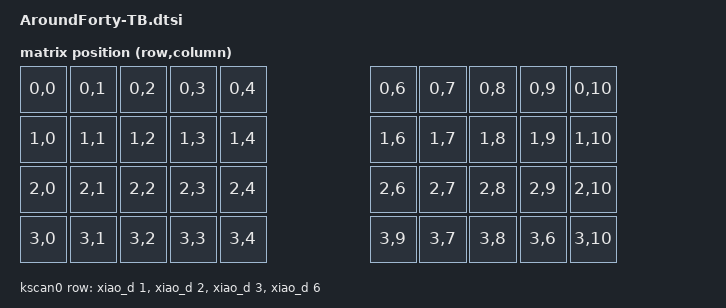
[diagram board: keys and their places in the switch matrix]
#include <dt-bindings/zmk/matrix_transform.h>
#include <physical_layouts.dtsi>
/ {
    chosen {
       zmk,physical-layout = &moga_physical_layout;
    };

moga_physical_layout: moga_physical_layout {
        compatible = "zmk,physical-layout";
        display-name = "Default";
        transform = <&default_transform>;
        kscan = <&kscan0>;

        keys  //                     w   h    x    y     rot    rx    ry
            = <&key_physical_attrs 100 100    0    0       0     0     0>
            , <&key_physical_attrs 100 100  100    0       0     0     0>
            , <&key_physical_attrs 100 100  200    0       0     0     0>
            , <&key_physical_attrs 100 100  300    0       0     0     0>
            , <&key_physical_attrs 100 100  400    0       0     0     0>
            , <&key_physical_attrs 100 100  800    0       0     0     0>
            , <&key_physical_attrs 100 100  900    0       0     0     0>
            , <&key_physical_attrs 100 100 1000    0       0     0     0>
            , <&key_physical_attrs 100 100 1100    0       0     0     0>
            , <&key_physical_attrs 100 100 1200    0       0     0     0>
            , <&key_physical_attrs 100 100    0  100       0     0     0>
            , <&key_physical_attrs 100 100  100  100       0     0     0>
            , <&key_physical_attrs 100 100  200  100       0     0     0>
            , <&key_physical_attrs 100 100  300  100       0     0     0>
            , <&key_physical_attrs 100 100  400  100       0     0     0>
            , <&key_physical_attrs 100 100  800  100       0     0     0>
            , <&key_physical_attrs 100 100  900  100       0     0     0>
            , <&key_physical_attrs 100 100 1000  100       0     0     0>
            , <&key_physical_attrs 100 100 1100  100       0     0     0>
            , <&key_physical_attrs 100 100 1200  100       0     0     0>
            , <&key_physical_attrs 100 100    0  200       0     0     0>
            , <&key_physical_attrs 100 100  100  200       0     0     0>
            , <&key_physical_attrs 100 100  200  200       0     0     0>
            , <&key_physical_attrs 100 100  300  200       0     0     0>
            , <&key_physical_attrs 100 100  400  200       0     0     0>
            , <&key_physical_attrs 100 100  500  200       0     0     0>
            , <&key_physical_attrs 100 100  800  200       0     0     0>
            , <&key_physical_attrs 100 100  900  200       0     0     0>
            , <&key_physical_attrs 100 100 1000  200       0     0     0>
            , <&key_physical_attrs 100 100 1100  200       0     0     0>
            , <&key_physical_attrs 100 100 1200  200       0     0     0>
            , <&key_physical_attrs 100 100    0  300       0     0     0>
            , <&key_physical_attrs 100 100  100  300       0     0     0>
            , <&key_physical_attrs 100 100  200  300       0     0     0>
            , <&key_physical_attrs 100 100  300  300       0     0     0>
            , <&key_physical_attrs 100 100  400  300       0     0     0>
            , <&key_physical_attrs 100 100  500  300       0     0     0>
            , <&key_physical_attrs 100 100  800  300       0     0     0>
            , <&key_physical_attrs 100 100  700  200       0     0     0>
            , <&key_physical_attrs 100 100  700  300       0     0     0>
            , <&key_physical_attrs 100 100 1100  300       0     0     0>
            , <&key_physical_attrs 100 100 1200  300       0     0     0> 
            ;
    };

    default_transform: keymap_transform_0 {
        compatible = "zmk,matrix-transform";
        columns = <11>;
        rows = <4>;               
        map = <
            RC(0,0) RC(0,1) RC(0,2) RC(0,3) RC(0,4)                        RC(0,6) RC(0,7) RC(0,8) RC(0,9) RC(0,10)
            RC(1,0) RC(1,1) RC(1,2) RC(1,3) RC(1,4)                        RC(1,6) RC(1,7) RC(1,8) RC(1,9) RC(1,10)
            RC(2,0) RC(2,1) RC(2,2) RC(2,3) RC(2,4)                        RC(2,6) RC(2,7) RC(2,8) RC(2,9) RC(2,10)
            RC(3,0) RC(3,1) RC(3,2) RC(3,3) RC(3,4)                        RC(3,9) RC(3,7) RC(3,8) RC(3,6) RC(3,10)         
        >;
    };
    
    kscan0: kscan {
        compatible = "zmk,kscan-gpio-matrix";
        label = "KSCAN";
        diode-direction = "col2row";
            row-gpios
                = <&xiao_d 1 (GPIO_ACTIVE_HIGH | GPIO_PULL_DOWN)> 
                , <&xiao_d 2 (GPIO_ACTIVE_HIGH | GPIO_PULL_DOWN)> 
                , <&xiao_d 3 (GPIO_ACTIVE_HIGH | GPIO_PULL_DOWN)> 
                , <&xiao_d 6 (GPIO_ACTIVE_HIGH | GPIO_PULL_DOWN)> 			
                ;
    };
/* --- 1) SPI0 用 pinctrl 定義 を追加 --- */
&pinctrl {
    spi0_default: spi0_default {
        group1 {
            psels = 
                <NRF_PSEL(SPIM_SCK,  0, 5)>,   /* SCLK → P0.05 */
                <NRF_PSEL(SPIM_MOSI, 0, 4)>,   /* SDIO → P0.04 */
                <NRF_PSEL(SPIM_MISO, 0, 4)>;   /* SDIO → P0.04 */
        };
    };
    spi0_sleep: spi0_sleep {
        group1 {
            psels = 
                <NRF_PSEL(SPIM_SCK,  0, 5)>,
                <NRF_PSEL(SPIM_MOSI, 0, 4)>,
                <NRF_PSEL(SPIM_MISO, 0, 4)>;
            low-power-enable;
        };
    };
};

/* --- 2) 不要なシリアルを無効化（既存） --- */
&xiao_serial {
    status = "disabled";
};

/* --- 3) SPI0 本体設定（cs-gpios は上書き） --- */
&spi0 {
    status        = "okay";
    compatible    = "nordic,nrf-spim";
    pinctrl-0     = <&spi0_default>;
    pinctrl-1     = <&spi0_sleep>;
    pinctrl-names = "default", "sleep";

    cs-gpios      = <&gpio0 9 GPIO_ACTIVE_LOW>;   /* NCS → P0.09 */

    trackball: trackball@0 {
        compatible        = "pixart,pmw3610";
        reg               = <0>;
        spi-max-frequency = <2000000>;
        irq-gpios         = <&gpio0 2 (GPIO_ACTIVE_LOW | GPIO_PULL_UP)>; /* MOTION → P0.02 */
        status            = "okay";
    };
};

/* --- 4) Split ホスト化 & ポインタ定義 --- */
 / {
    compatible = "zmk,split";
    split {
        status = "okay";
        axis   = <1>;
    };

    pointing_device_pointer: pointing_input@0 {
        compatible = "zmk,pointing_input";
        trackballs = <&trackball>;
        status     = "okay";
    };
};
};
